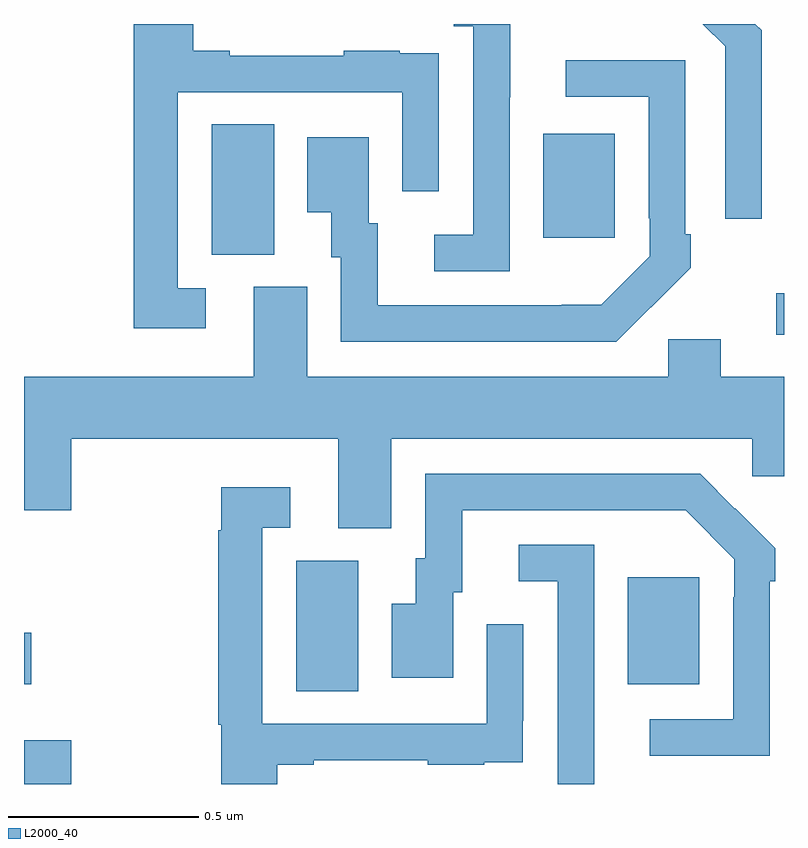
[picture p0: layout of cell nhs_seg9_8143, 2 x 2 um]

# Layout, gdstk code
import gdstk
lib = gdstk.Library(unit=1e-6, precision=1e-09)
def R(c, l, rs):  # rectangles x0, y0, x1, y1
    for r in rs: c.add(gdstk.rectangle(r[:2], r[2:], *l))
def P(c, l, *ps):  # polygons
    for p in ps: c.add(gdstk.Polygon(p, *l))
L2000_40 = (2000, 40)

nhs_seg9_8143 = lib.new_cell('nhs_seg9_8143')
R(nhs_seg9_8143, L2000_40, [(213,1207.5,213.124,1207.615), (213.716,1207.744,213.88,1208.088), (213,1207.763,213.019,1207.898), (214.589,1207.763,214.777,1208.044), (214.98,1208.682,215,1208.791), (213.494,1208.893,213.658,1209.236), (214.367,1208.937,214.555,1209.211)])
P(nhs_seg9_8143, L2000_40, [(213.478,1208.805),(213.405,1208.805),(213.405,1209.321),(213.996,1209.321),(213.996,1209.06),(214.092,1209.06),(214.092,1209.314),(214.091,1209.314),(214.091,1209.423),(213.989,1209.423),(213.989,1209.43),(213.841,1209.43),(213.841,1209.417),(213.541,1209.417),(213.541,1209.43),(213.445,1209.43),(213.445,1209.5),(213.289,1209.5),(213.289,1208.7),(213.478,1208.7)],
  [(214.278,1209.307),(214.279,1209.307),(214.279,1209.5),(214.131,1209.5),(214.131,1209.494),(214.182,1209.494),(214.182,1208.946),(214.08,1208.946),(214.08,1208.85),(214.278,1208.85)],
  [(214.941,1209.483),(214.924,1209.5),(214.786,1209.5),(214.845,1209.441),(214.845,1208.988),(214.941,1208.988)],
  [(214.649,1208.755),(214.65,1208.754),(214.755,1208.859),(214.755,1208.947),(214.74,1208.947),(214.74,1209.405),(214.425,1209.405),(214.425,1209.309),(214.644,1209.309),(214.644,1208.989),(214.647,1208.989),(214.647,1208.889),(214.519,1208.761),(214.415,1208.761),(214.415,1208.76),(213.931,1208.76),(213.931,1208.976),(213.907,1208.976),(213.907,1209.202),(213.746,1209.202),(213.746,1209.005),(213.809,1209.005),(213.809,1208.886),(213.834,1208.886),(213.834,1208.664),(214.558,1208.664)],
  [(213.967,1208.408),(214.917,1208.408),(214.917,1208.31),(215,1208.31),(215,1208.572),(214.834,1208.572),(214.834,1208.67),(214.695,1208.67),(214.695,1208.572),(213.745,1208.572),(213.745,1208.808),(213.605,1208.808),(213.605,1208.572),(213,1208.572),(213,1208.22),(213.124,1208.22),(213.124,1208.408),(213.827,1208.408),(213.827,1208.173),(213.967,1208.173)],
  [(214.962,1208.033),(214.977,1208.033),(214.977,1208.121),(214.872,1208.226),(214.871,1208.225),(214.78,1208.316),(214.056,1208.316),(214.056,1208.094),(214.031,1208.094),(214.031,1207.975),(213.968,1207.975),(213.968,1207.779),(214.129,1207.779),(214.129,1208.004),(214.153,1208.004),(214.153,1208.22),(214.741,1208.22),(214.869,1208.091),(214.869,1207.991),(214.866,1207.991),(214.866,1207.671),(214.647,1207.671),(214.647,1207.575),(214.962,1207.575)],
  [(213.667,1207.551),(213.763,1207.551),(213.763,1207.563),(214.063,1207.563),(214.063,1207.551),(214.211,1207.551),(214.211,1207.557),(214.313,1207.557),(214.313,1207.666),(214.314,1207.666),(214.314,1207.921),(214.218,1207.921),(214.218,1207.659),(213.627,1207.659),(213.627,1208.175),(213.7,1208.175),(213.7,1208.281),(213.519,1208.281),(213.519,1208.168),(213.511,1208.168),(213.511,1207.656),(213.519,1207.656),(213.519,1207.5),(213.667,1207.5)],
  [(214.5,1208.13),(214.302,1208.13),(214.302,1208.034),(214.404,1208.034),(214.404,1207.5),(214.5,1207.5)])

lib.write_gds('nhs_seg9_8143.gds')
